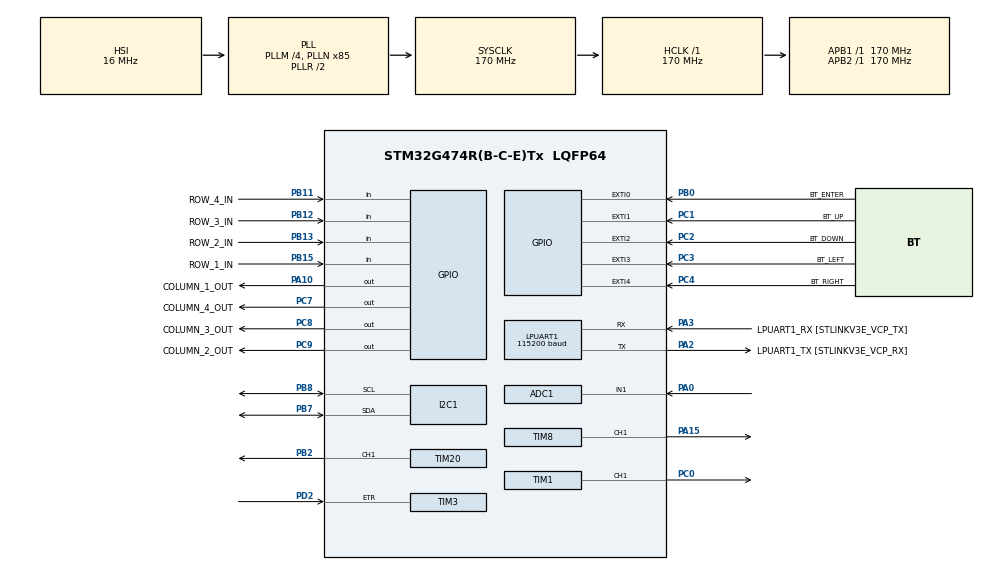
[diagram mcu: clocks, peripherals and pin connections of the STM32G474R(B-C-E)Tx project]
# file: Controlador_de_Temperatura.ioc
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ADC1.Channel-0\#ChannelRegularConversion=ADC_CHANNEL_1
ADC1.ClockPrescaler=ADC_CLOCK_ASYNC_DIV256
ADC1.ContinuousConvMode=ENABLE
ADC1.DMAContinuousRequests=ENABLE
ADC1.NbrOfConversionFlag=1
ADC1.OffsetNumber-0\#ChannelRegularConversion=ADC_OFFSET_NONE
ADC1.OversamplingMode=ENABLE
ADC1.Rank-0\#ChannelRegularConversion=1
ADC1.Ratio=ADC_OVERSAMPLING_RATIO_16
ADC1.RightBitShift=ADC_RIGHTBITSHIFT_4
ADC1.SamplingTime-0\#ChannelRegularConversion=ADC_SAMPLETIME_2CYCLES_5
ADC1.master=1
Dma.ADC1.0.Direction=DMA_PERIPH_TO_MEMORY
Dma.ADC1.0.EventEnable=DISABLE
Dma.ADC1.0.Instance=DMA1_Channel1
Dma.ADC1.0.MemDataAlignment=DMA_MDATAALIGN_HALFWORD
Dma.ADC1.0.MemInc=DMA_MINC_ENABLE
Dma.ADC1.0.Mode=DMA_CIRCULAR
Dma.ADC1.0.PeriphDataAlignment=DMA_PDATAALIGN_HALFWORD
Dma.ADC1.0.PeriphInc=DMA_PINC_DISABLE
Dma.ADC1.0.Polarity=HAL_DMAMUX_REQ_GEN_RISING
Dma.ADC1.0.Priority=DMA_PRIORITY_LOW
Dma.ADC1.0.RequestNumber=1
Dma.ADC1.0.SignalID=NONE
Dma.ADC1.0.SyncEnable=DISABLE
Dma.ADC1.0.SyncPolarity=HAL_DMAMUX_SYNC_NO_EVENT
Dma.ADC1.0.SyncRequestNumber=1
Dma.ADC1.0.SyncSignalID=NONE
Dma.Request0=ADC1
I2C1.Timing=0x30A0A7FB
LPUART1.BaudRate=115200
LPUART1.WordLength=UART_WORDLENGTH_8B
Mcu.Family=STM32G4
Mcu.Name=STM32G474R(B-C-E)Tx
Mcu.Package=LQFP64
NVIC.DMA1_Channel1_IRQn=true\:0\:0\:false\:false\:true\:false\:true\:true
NVIC.EXTI0_IRQn=true\:0\:0\:false\:false\:true\:true\:true\:true
NVIC.EXTI1_IRQn=true\:0\:0\:false\:false\:true\:true\:true\:true
NVIC.EXTI2_IRQn=true\:0\:0\:false\:false\:true\:true\:true\:true
NVIC.EXTI3_IRQn=true\:0\:0\:false\:false\:true\:true\:true\:true
NVIC.EXTI4_IRQn=true\:0\:0\:false\:false\:true\:true\:true\:true
NVIC.I2C1_ER_IRQn=true\:0\:0\:false\:false\:true\:true\:true\:true
NVIC.I2C1_EV_IRQn=true\:0\:0\:false\:false\:true\:true\:true\:true
NVIC.LPUART1_IRQn=true\:0\:0\:false\:false\:true\:true\:true\:true
NVIC.PriorityGroup=NVIC_PRIORITYGROUP_4
NVIC.TIM1_UP_TIM16_IRQn=true\:0\:0\:false\:false\:true\:true\:true\:true
NVIC.TIM3_IRQn=true\:0\:0\:false\:false\:true\:true\:true\:true
NVIC.TIM4_IRQn=true\:0\:0\:false\:false\:true\:true\:true\:true
NVIC.TIM6_DAC_IRQn=true\:1\:0\:true\:false\:true\:true\:true\:true
NVIC.TIM7_DAC_IRQn=true\:0\:0\:false\:false\:true\:true\:true\:true
PA0.Mode=IN1-Single-Ended
PA0.Signal=ADC1_IN1
PA10.GPIO_Label=COLUMN_1_OUT
PA10.Signal=GPIO_Output
PA13.GPIO_Label=T_SWDIO
PA13.Mode=Serial_Wire
PA13.Signal=SYS_JTMS-SWDIO
PA14.GPIO_Label=T_SWCLK
PA14.Mode=Serial_Wire
PA14.Signal=SYS_JTCK-SWCLK
PA15.Signal=S_TIM8_CH1
PA2.GPIO_Label=LPUART1_TX [STLINKV3E_VCP_RX]
PA2.Mode=Asynchronous
PA2.Signal=LPUART1_TX
PA3.GPIO_Label=LPUART1_RX [STLINKV3E_VCP_TX]
PA3.Mode=Asynchronous
PA3.Signal=LPUART1_RX
PB0.GPIO_Label=BT_ENTER
PB0.GPIO_ModeDefaultEXTI=GPIO_MODE_IT_RISING_FALLING
PB0.Signal=GPXTI0
PB11.GPIO_Label=ROW_4_IN
PB11.Signal=GPIO_Input
PB12.GPIO_Label=ROW_3_IN
PB12.Signal=GPIO_Input
PB13.GPIO_Label=ROW_2_IN
PB13.Signal=GPIO_Input
PB15.GPIO_Label=ROW_1_IN
PB15.Signal=GPIO_Input
PB2.Signal=S_TIM20_CH1
PB3.GPIO_Label=T_SWO
PB3.Signal=SYS_JTDO-SWO
PB7.Mode=I2C
PB7.Signal=I2C1_SDA
PB8-BOOT0.Mode=I2C
PB8-BOOT0.Signal=I2C1_SCL
PC0.Signal=S_TIM1_CH1
PC1.GPIO_Label=BT_UP
PC1.GPIO_ModeDefaultEXTI=GPIO_MODE_IT_RISING_FALLING
PC1.Signal=GPXTI1
PC14-OSC32_IN.Mode=LSE-External-Oscillator
PC14-OSC32_IN.Signal=RCC_OSC32_IN
PC15-OSC32_OUT.Mode=LSE-External-Oscillator
PC15-OSC32_OUT.Signal=RCC_OSC32_OUT
PC2.GPIO_Label=BT_DOWN
PC2.GPIO_ModeDefaultEXTI=GPIO_MODE_IT_RISING_FALLING
PC2.Signal=GPXTI2
PC3.GPIO_Label=BT_LEFT
PC3.GPIO_ModeDefaultEXTI=GPIO_MODE_IT_RISING_FALLING
PC3.Signal=GPXTI3
PC4.GPIO_Label=BT_RIGHT
PC4.GPIO_ModeDefaultEXTI=GPIO_MODE_IT_RISING_FALLING
PC4.Signal=GPXTI4
PC6.Signal=S_TIM3_CH1
PC7.GPIO_Label=COLUMN_4_OUT
PC7.Signal=GPIO_Output
PC8.GPIO_Label=COLUMN_3_OUT
PC8.Signal=GPIO_Output
PC9.GPIO_Label=COLUMN_2_OUT
PC9.Signal=GPIO_Output
PD2.Signal=S_TIM3_ETR
PF0-OSC_IN.Mode=HSE-External-Oscillator
PF0-OSC_IN.Signal=RCC_OSC_IN
PF1-OSC_OUT.Mode=HSE-External-Oscillator
PF1-OSC_OUT.Signal=RCC_OSC_OUT
ProjectManager.HeapSize=0x200
ProjectManager.StackSize=0x400
ProjectManager.TargetToolchain=STM32CubeIDE
RCC.ADC12Freq_Value=170000000
RCC.ADC345Freq_Value=170000000
RCC.AHBFreq_Value=170000000
RCC.APB1Freq_Value=170000000
RCC.APB1TimFreq_Value=170000000
RCC.APB2Freq_Value=170000000
RCC.APB2TimFreq_Value=170000000
RCC.CortexFreq_Value=170000000
RCC.EXTERNAL_CLOCK_VALUE=12288000
RCC.HCLKFreq_Value=170000000
RCC.HSE_VALUE=24000000
RCC.HSI48_VALUE=48000000
RCC.HSI_VALUE=16000000
RCC.PLLM=RCC_PLLM_DIV4
RCC.PLLN=85
RCC.RTCClockSelection=RCC_RTCCLKSOURCE_LSE
RCC.SYSCLKFreq_VALUE=170000000
RCC.SYSCLKSource=RCC_SYSCLKSOURCE_PLLCLK
RCC.USBFreq_Value=170000000
RCC.VCOOutputFreq_Value=340000000
SH.S_TIM1_CH1.0=TIM1_CH1,PWM Generation1 CH1
SH.S_TIM20_CH1.0=TIM20_CH1,PWM Generation1 CH1
SH.S_TIM3_CH1.0=TIM3_CH1
SH.S_TIM3_ETR.0=TIM3_ETR,ClockSourceETR_Mode2
SH.S_TIM8_CH1.0=TIM8_CH1,PWM Generation1 CH1
TIM1.Channel-PWM\ Generation1\ CH1=TIM_CHANNEL_1
TIM1.PeriodNoDither=10000-1
TIM1.Prescaler=17-1
TIM16.PeriodNoDither=10000-1
TIM16.Prescaler=170-1
TIM20.Channel-PWM\ Generation1\ CH1=TIM_CHANNEL_1
TIM20.PeriodNoDither=10000-1
TIM20.Prescaler=17-1
TIM3.Prescaler=1-1
TIM4.PeriodNoDither=10000-1
TIM4.Prescaler=170-1
TIM6.PeriodNoDither=10000-1
TIM6.Prescaler=170-1
TIM7.PeriodNoDither=10000-1
TIM7.Prescaler=170-1
TIM8.Channel-PWM\ Generation1\ CH1=TIM_CHANNEL_1
TIM8.PeriodNoDither=10000-1
TIM8.Prescaler=17-1
VP_SYS_VS_DBSignals.Mode=DisableDeadBatterySignals
VP_TIM16_VS_ClockSourceINT.Mode=Enable_Timer
VP_TIM1_VS_ClockSourceINT.Mode=Internal
VP_TIM20_VS_ClockSourceINT.Mode=Internal
VP_TIM4_VS_ClockSourceINT.Mode=Internal
VP_TIM6_VS_ClockSourceINT.Mode=Enable_Timer
VP_TIM7_VS_ClockSourceINT.Mode=Enable_Timer
VP_TIM8_VS_ClockSourceINT.Mode=Internal
board=NUCLEO-G474RE

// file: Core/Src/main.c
/* USER CODE BEGIN Header */
/**
  ******************************************************************************
  * @file           : main.c
  * @brief          : Main program body
  ******************************************************************************
  * @attention
  *
  * Copyright (c) 2024 STMicroelectronics.
  * All rights reserved.
  *
  * This software is licensed under terms that can be found in the LICENSE file
  * in the root directory of this software component.
  * If no LICENSE file comes with this software, it is provided AS-IS.
  *
  *
  ******************************************************************************
  */
/* USER CODE END Header */
#include "main.h"

/* USER CODE BEGIN Includes */
//#include "matrixKeyboard.h"
//#include <buttonsEvents.h>

/* USER CODE END Includes */

/* USER CODE BEGIN PV */
	enum state xAppState =INIT;
	long long int var = 0;
	matrixButtons * keyboard;
	char cMenuIndex[_NUMBER_OF_MENUS];
	int iActMenuIndex = TEMPERATURE;

	char cAddresI2c = 0x27;

	unsigned short int usTimeCounter=0;
	float fTemperature = 0;
	float fSetPointValue = 40;
	float fHeaterPWM = 0;
	float fCoolerPWM = 0;
	float fAppKp = 2.7;
	float fAppKi = 0.9;
	float fAppKd = 0;
	char cCtrlOn = 1;
	unsigned short int usCoolerSpeed=0;
	unsigned char ucTimeCounterUART=0;

	unsigned char ucLocalInterfaceLock=0; // 0:unlocked 1:locked

	TIM_HandleTypeDef * pTimer10ms 			= &htim6;
	TIM_HandleTypeDef * pTimerButtonsEventsDebouncing 	= &htim7;
	TIM_HandleTypeDef * pTimerButtonsEventsLongPress 	= &htim16;
	TIM_HandleTypeDef * pTimBuzzer 						= &htim20;
	TIM_HandleTypeDef * pTimCooler						= &htim8;
	TIM_HandleTypeDef * pTimHeater						= &htim1;
	TIM_HandleTypeDef * pTimTachometerPulseCounter		= &htim3;
	TIM_HandleTypeDef * pTimTachometerTimeCounter		= &htim4;
	ADC_HandleTypeDef * pADCTemperature					= &hadc1;

	extern UART_HandleTypeDef hlpuart1;
	UART_HandleTypeDef * pUARTCom = &hlpuart1;

/* USER CODE END PV */

void SystemClock_Config(void);

/* USER CODE BEGIN 0 */
void vButtonsEventCallbackPressedEvent(enum buttonsEventsDef xButton){
	switch (xButton) {
		case BTENTER:

			break;
		case BTUP:
			vIncrementCoolerPWMDuty();
			break;
		case BTDOWN:
			vDecrementCoolerPWMDuty();
			break;
		case BTLEFT:
			switch (xAppState) {
				case RUN:
					vDecrementHeaterPWMDuty();
					break;
				case CONFIG:
					if(TEMPERATURE == iActMenuIndex){
						vAppChangeMenu(SPEED);
					}
					else{
						vAppChangeMenu(iActMenuIndex-1);
						}
					break;
				default:
					break;
			}
			break;
		case BTRIGHT:
			switch (xAppState) {
				case RUN:
					vIncrementHeaterPWMDuty();
					break;
				case CONFIG:
					if(SPEED==iActMenuIndex){
						vAppChangeMenu(TEMPERATURE);
					}
					else{
						vAppChangeMenu(iActMenuIndex+1);
						}
					break;
				default:
					break;
			}

			break;
		default:
			break;
	}
}
void vButtonsEventCallback3sPressedEvent(enum buttonsEventsDef xButton){
	switch (xButton) {
		case BTENTER:
			if(xAppState == RUN){
				vAppChangeState(CONFIG);
			}
			else if(xAppState == CONFIG){
				vAppChangeState(RUN);
			}

			break;
		case BTUP:

			break;
		case BTDOWN:

			break;
		case BTLEFT:

			break;
		case BTRIGHT:

			break;
		default:
			break;
		}
 }

/* USER CODE END 0 */

int main(void)
{

  /* MCU Configuration--------------------------------------------------------*/

  /* Reset of all peripherals, Initializes the Flash interface and the Systick. */
  HAL_Init();

  /* Configure the system clock */
  SystemClock_Config();

  /* Initialize all configured peripherals */
  MX_GPIO_Init();
  MX_DMA_Init();
  MX_LPUART1_UART_Init();
  MX_TIM6_Init();
  MX_TIM7_Init();
  MX_TIM16_Init();
  MX_I2C1_Init();
  MX_TIM1_Init();
  MX_TIM8_Init();
  MX_TIM20_Init();
  MX_TIM3_Init();
  MX_TIM4_Init();
  MX_ADC1_Init();
  /* USER CODE BEGIN 2 */

  /* Initialize all configured peripherals libs*/
  vLedInitLeds();
  vButtonsInitButtons();
  vMatrixKeyboardInit();
  vButtonsEventsInit(&htim7, &htim16);
  vHeaterAndCoolerInit(pTimCooler, pTimHeater);
  vTachometerInit(pTimTachometerTimeCounter, 1000);
  vBuzzerInit(pTimBuzzer);
  vLcdInitLcd(&hi2c1, 0x27);
  vPidInit(fAppKp,fAppKi,fAppKd,30,1);
  vInitApp();
  vCommunicationInit();
  vCommunicationStateMachineInit(pUARTCom);
  vTemperatureSensorInit(pADCTemperature);
  /* End of libs inicialization */

  /* Tests Code Begin */
  xAppState = vAppChangeState(RUN);
  keyboard = pMatrixKeyboardGetKeys();
  vLcdSendCommand(CMD_CLEAR);
  vBuzzerConfig(1000,500,pTimBuzzer);

  /* USER CODE END 2 */

  /* Infinite loop */
  /* USER CODE BEGIN WHILE */

  while (1)
  {
	fTemperature = fTemperatureSensorGetTemperature();
	vAppInfoToLCD(fTemperature, fHeaterPWM, fCoolerPWM, fSetPointValue);
	vAppLedTemperatureStatus();
	vHeaterPWMDuty(fHeaterPWM/100);
	vCoolerfanPWMDuty(fCoolerPWM/100);

    /* USER CODE END WHILE */

  }
}

void SystemClock_Config(void)
{
  RCC_OscInitTypeDef RCC_OscInitStruct = {0};
  RCC_ClkInitTypeDef RCC_ClkInitStruct = {0};

  /** Configure the main internal regulator output voltage
  */
  HAL_PWREx_ControlVoltageScaling(PWR_REGULATOR_VOLTAGE_SCALE1_BOOST);

  /** Initializes the RCC Oscillators according to the specified parameters
  * in the RCC_OscInitTypeDef structure.
  */
  RCC_OscInitStruct.OscillatorType = RCC_OSCILLATORTYPE_HSI;
  RCC_OscInitStruct.HSIState = RCC_HSI_ON;
  RCC_OscInitStruct.HSICalibrationValue = RCC_HSICALIBRATION_DEFAULT;
  RCC_OscInitStruct.PLL.PLLState = RCC_PLL_ON;
  RCC_OscInitStruct.PLL.PLLSource = RCC_PLLSOURCE_HSI;
  RCC_OscInitStruct.PLL.PLLM = RCC_PLLM_DIV4;
  RCC_OscInitStruct.PLL.PLLN = 85;
  RCC_OscInitStruct.PLL.PLLP = RCC_PLLP_DIV2;
  RCC_OscInitStruct.PLL.PLLQ = RCC_PLLQ_DIV2;
  RCC_OscInitStruct.PLL.PLLR = RCC_PLLR_DIV2;
  if (HAL_RCC_OscConfig(&RCC_OscInitStruct) != HAL_OK)
  {
    Error_Handler();
  }

  /** Initializes the CPU, AHB and APB buses clocks
  */
  RCC_ClkInitStruct.ClockType = RCC_CLOCKTYPE_HCLK|RCC_CLOCKTYPE_SYSCLK
                              |RCC_CLOCKTYPE_PCLK1|RCC_CLOCKTYPE_PCLK2;
  RCC_ClkInitStruct.SYSCLKSource = RCC_SYSCLKSOURCE_PLLCLK;
  RCC_ClkInitStruct.AHBCLKDivider = RCC_SYSCLK_DIV1;
  RCC_ClkInitStruct.APB1CLKDivider = RCC_HCLK_DIV1;
  RCC_ClkInitStruct.APB2CLKDivider = RCC_HCLK_DIV1;

  if (HAL_RCC_ClockConfig(&RCC_ClkInitStruct, FLASH_LATENCY_4) != HAL_OK)
  {
    Error_Handler();
  }
}

/* USER CODE BEGIN 4 */
void HAL_TIM_PeriodElapsedCallback(TIM_HandleTypeDef *htim){
	switch(xAppState){
	case INIT:
		break;

	case RUN:
		if (pTimer10ms == htim){
			vAppTimeCounter();
			vAppPIDControl();
			vMatrixKeyboardUpdateCallback();
			vTachometerUpdate();
		}
		if (pTimerButtonsEventsDebouncing == htim){
			vButtonsEventsDebouncingCallback();
		}
		if (pTimerButtonsEventsLongPress == htim){
			vButtonsEventsLongPressCallback();
		}
		if (pTimTachometerTimeCounter == htim ){
		}
		break;
	case CONFIG:
		if (pTimer10ms == htim){
			vAppTimeCounter();
			vAppPIDControl();
			vMatrixKeyboardUpdateCallback();
			vAppGetFromKeyboard(keyboard);
			vAppGetKeyboardValue();
			vTachometerUpdate();
			vBuzzerPlayingCallback();
		}
		if (pTimerButtonsEventsDebouncing == htim){
			vButtonsEventsDebouncingCallback();
		}
		if (pTimerButtonsEventsLongPress == htim){
			vButtonsEventsLongPressCallback();
		}
		if (pTimTachometerTimeCounter == htim ){
		}
	break;
	case CHANGE:
		if (pTimer10ms == htim){
			vAppTimeCounter();
			vMatrixKeyboardUpdateCallback();
			vAppGetFromKeyboard(keyboard);
			vAppGetKeyboardValue();
			vTachometerUpdate();
			vBuzzerPlayingCallback();

		}

	break;
		default:
			break;
	}
}

void HAL_GPIO_EXTI_Callback (uint16_t GPIO_Pin){
	switch(xAppState){
		case RUN:
			if(BT_UP_Pin == GPIO_Pin){
				vButtonsEventsBtUp();
			}
			if(BT_DOWN_Pin == GPIO_Pin){
				vButtonsEventsBtDown();
			}
			if(BT_LEFT_Pin == GPIO_Pin){
				vButtonsEventsBtLeft();
			}
			if(BT_RIGHT_Pin == GPIO_Pin){
				vButtonsEventsBtRight();
			}
			if(BT_ENTER_Pin == GPIO_Pin){
				vButtonsEventsBtEnter();
			}

			break;
		case CONFIG:
			if(BT_LEFT_Pin == GPIO_Pin){
				vButtonsEventsBtLeft();
			}
			if(BT_RIGHT_Pin == GPIO_Pin){
				vButtonsEventsBtRight();
			}
			if(BT_ENTER_Pin == GPIO_Pin){
				vButtonsEventsBtEnter();
			}
			break;
		default:
			break;
	}
}

/* USER CODE END 4 */

void Error_Handler(void)
{
  __disable_irq();
  while (1)
  {
  }
}
